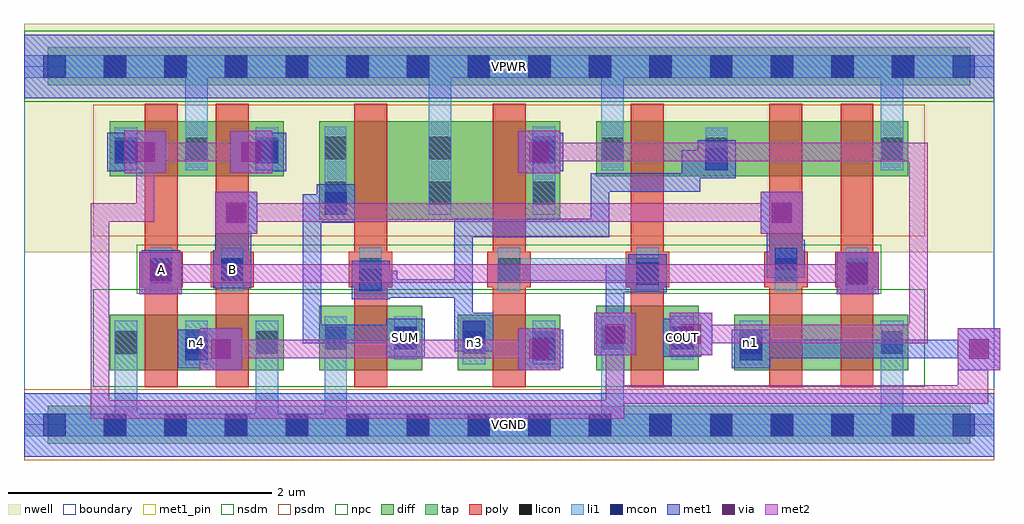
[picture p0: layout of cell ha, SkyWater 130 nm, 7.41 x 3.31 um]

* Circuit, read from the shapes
.subckt ha A B COUT SUM VGND VPWR n1 n3 n4
XM1 n4 A VGND VGND sky130_fd_pr__nfet_01v8 w=0.42 l=0.25
XM2 VGND B n4 VGND sky130_fd_pr__nfet_01v8 w=0.42 l=0.25
XM3 SUM n3 VGND VGND sky130_fd_pr__nfet_01v8 w=0.49 l=0.25
XM4 n4 n1 n3 VGND sky130_fd_pr__nfet_01v8 w=0.42 l=0.25
XM5 COUT n1 VGND VGND sky130_fd_pr__nfet_01v8 w=0.49 l=0.25
XM6 n2 B n1 VGND sky130_fd_pr__nfet_01v8 w=0.42 l=0.25
XM7 VGND A n2 VGND sky130_fd_pr__nfet_01v8 w=0.42 l=0.25
XM8 VPWR A n1 VPWR sky130_fd_pr__pfet_01v8 w=0.42 l=0.25
XM9 n1 B VPWR VPWR sky130_fd_pr__pfet_01v8 w=0.42 l=0.25
XM10 VPWR n3 SUM VPWR sky130_fd_pr__pfet_01v8 w=0.75 l=0.25
XM11 COUT n1 VPWR VPWR sky130_fd_pr__pfet_01v8 w=0.75 l=0.25
XM12 n3 n1 VPWR VPWR sky130_fd_pr__pfet_01v8 w=0.42 l=0.25
XM13 n5 B n3 VPWR sky130_fd_pr__pfet_01v8 w=0.42 l=0.25
XM14 VPWR A n5 VPWR sky130_fd_pr__pfet_01v8 w=0.42 l=0.25
.ends

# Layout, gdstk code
import gdstk
lib = gdstk.Library(unit=1e-6, precision=1e-09)
def R(c, l, rs):  # rectangles x0, y0, x1, y1
    for r in rs: c.add(gdstk.rectangle(r[:2], r[2:], *l))
def A(c, l, x, y, w, h, nx, ny, dx, dy):  # array of equal rectangles
    R(c, l, [(x+i*dx, y+j*dy, x+i*dx+w, y+j*dy+h) for i in range(nx) for j in range(ny)])
nwell = (64, 20)
diff = (65, 20)
tap = (65, 44)
poly = (66, 20)
licon = (66, 44)
li1 = (67, 20)
mcon = (67, 44)
met1_pin = (68, 16)
met1 = (68, 20)
via = (68, 44)
met2 = (69, 20)
nsdm = (93, 44)
psdm = (94, 20)
npc = (95, 20)
boundary = (235, 4)

c_ha = lib.new_cell('ha')
R(c_ha, nwell, [(0,1.31,7.36,3.045)])
R(c_ha, diff, [(0.65,0.415,1.97,0.835), (2.24,0.415,3.02,0.905), (3.29,0.415,4.07,0.835), (4.34,0.415,5.12,0.905), (5.39,0.415,6.71,0.835), (2.24,1.555,4.07,2.305), (0.65,1.885,1.97,2.305), (4.34,1.885,6.71,2.305)])
R(c_ha, tap, [(0.18,-0.145,7.18,0.145), (0.18,2.575,7.18,2.865)])
A(c_ha, poly, 1.455, 0.285, 0.25, 2.15, 5, 1, 1.05, 0)
A(c_ha, poly, 1.415, 1.045, 0.33, 0.27, 5, 1, 1.05, 0)
R(c_ha, poly, [(0.915,0.285,1.165,2.435), (6.195,0.285,6.445,2.435), (0.875,1.045,1.205,1.315), (6.155,1.045,6.485,1.315)])
A(c_ha, licon, 0.605, -0.085, 0.17, 0.17, 14, 2, 0.46, 2.72)
A(c_ha, licon, 0.69, 0.54, 0.17, 0.17, 3, 2, 0.535, 1.47)
A(c_ha, licon, 1.495, 1.095, 0.17, 0.17, 5, 1, 1.05, 0)
A(c_ha, licon, 2.28, 1.675, 0.17, 0.17, 3, 2, 0.79, 0.34)
R(c_ha, licon, [(3.33,0.54,3.5,0.71), (3.86,0.54,4.03,0.71), (5.43,0.54,5.6,0.71), (6.5,0.54,6.67,0.71), (2.28,0.575,2.45,0.745), (2.81,0.575,2.98,0.745), (4.38,0.575,4.55,0.745), (4.91,0.575,5.08,0.745), (0.955,1.095,1.125,1.265), (6.235,1.095,6.405,1.265), (4.38,2.01,4.55,2.18), (5.17,2.01,5.34,2.18), (6.5,2.01,6.67,2.18)])
A(c_ha, li1, 0.69, 0.46, 0.17, 0.33, 3, 2, 0.535, 1.47)
A(c_ha, li1, 1.495, 1.015, 0.17, 0.33, 5, 1, 1.05, 0)
A(c_ha, li1, 2.28, 1.595, 0.17, 0.67, 3, 1, 0.79, 0)
R(c_ha, li1, [(0,-0.085,7.36,0.085), (0.69,-0.085,0.86,0.79), (1.76,-0.085,1.93,0.79), (2.28,-0.085,2.45,0.825), (4.38,-0.085,4.55,0.825), (6.5,-0.085,6.67,0.79), (3.33,0.46,3.5,0.79), (3.86,0.46,4.03,0.79), (5.43,0.46,5.6,0.79), (6.5,0.46,6.67,0.79), (2.28,0.495,2.45,0.825), (2.81,0.495,2.98,0.825), (4.38,0.495,4.55,0.825), (4.91,0.495,5.08,0.825), (0.955,1.015,1.125,1.345), (6.235,1.015,6.405,1.345), (3.595,1.095,4.815,1.265), (3.07,1.595,3.24,2.805), (1.225,1.93,1.395,2.805), (4.38,1.93,4.55,2.26), (4.38,1.93,4.55,2.805), (5.17,1.93,5.34,2.26), (6.5,1.93,6.67,2.26), (6.5,1.93,6.67,2.805), (0,2.635,7.36,2.805)])
A(c_ha, mcon, 0.145, -0.085, 0.17, 0.17, 16, 2, 0.46, 2.72)
R(c_ha, mcon, [(1.225,0.49,1.395,0.66), (3.86,0.49,4.03,0.66), (5.43,0.49,5.6,0.66), (2.81,0.575,2.98,0.745), (4.91,0.575,5.08,0.745), (3.33,0.62,3.5,0.79), (2.545,1.015,2.715,1.185), (4.645,1.065,4.815,1.235), (6.235,1.065,6.405,1.235), (0.955,1.095,1.125,1.265), (1.495,1.095,1.665,1.265), (5.695,1.175,5.865,1.345), (2.28,1.595,2.45,1.765), (5.17,1.93,5.34,2.1), (0.69,1.985,0.86,2.155), (1.76,1.985,1.93,2.155), (3.86,1.985,4.03,2.155)])
R(c_ha, met1_pin, [(0,-0.24,7.36,0.24), (2.75,0.515,3.04,0.805), (4.85,0.515,5.14,0.805), (0.895,1.035,1.185,1.325), (1.435,1.035,1.725,1.325), (0,2.48,7.36,2.96)])
R(c_ha, met1, [(0,-0.24,7.36,0.24), (1.335,0.415,1.655,0.735), (3.75,0.415,4.07,0.735), (7.085,0.415,7.405,0.735), (1.165,0.43,1.455,0.72), (3.8,0.43,4.09,0.72), (5.37,0.43,5.66,0.72), (1.24,0.505,1.565,0.645), (3.84,0.505,4.015,0.645), (5.445,0.505,5.705,0.645), (5.565,0.505,7.315,0.645), (2.75,0.515,3.04,0.805), (4.85,0.515,5.14,0.805), (4.325,0.53,4.645,0.85), (4.9,0.53,5.22,0.85), (3.27,0.56,3.56,0.85), (2.115,0.62,2.945,0.76), (2.115,0.62,2.255,1.565), (2.805,0.62,2.945,0.76), (4.415,0.62,4.555,1.22), (4.99,0.62,5.13,0.76), (3.265,0.635,3.485,0.775), (3.265,0.635,3.405,0.875), (3.265,0.735,3.405,1.105), (2.485,0.955,2.775,1.245), (2.69,0.965,2.83,1.17), (2.69,0.965,3.405,1.105), (3.265,0.965,3.405,1.565), (0.875,0.99,1.195,1.31), (6.165,0.99,6.485,1.31), (4.555,1.005,4.585,1.22), (4.585,1.005,4.875,1.295), (6.175,1.005,6.465,1.295), (2.56,1.03,2.83,1.17), (0.895,1.035,1.185,1.325), (1.435,1.035,1.725,1.325), (0.965,1.08,1.105,1.22), (1.54,1.08,1.68,1.68), (1.54,1.08,1.68,1.22), (4.415,1.08,4.67,1.22), (4.53,1.08,4.8,1.22), (6.25,1.08,6.395,1.22), (5.635,1.115,5.925,1.405), (5.68,1.19,5.85,1.33), (5.68,1.19,5.82,1.45), (5.68,1.31,5.82,1.68), (1.45,1.325,1.725,1.45), (5.68,1.33,5.85,1.45), (5.635,1.405,5.91,1.45), (2.115,1.425,2.255,1.75), (3.265,1.425,4.44,1.565), (4.3,1.425,4.44,1.91), (1.45,1.45,1.77,1.77), (5.59,1.45,5.91,1.77), (2.22,1.535,2.51,1.825), (2.115,1.61,2.435,1.75), (4.3,1.77,5.13,1.91), (4.99,1.77,5.13,2.085), (5.11,1.87,5.4,2.16), (0.76,1.91,1.08,2.23), (1.565,1.91,1.885,2.23), (3.75,1.91,4.07,2.23), (0.63,1.925,0.92,2.215), (1.7,1.925,1.99,2.215), (3.8,1.925,4.09,2.215), (4.99,1.945,5.325,2.085), (0.705,2,0.99,2.14), (1.655,2,1.915,2.14), (3.84,2,4.015,2.14), (0,2.48,7.36,2.96)])
R(c_ha, via, [(1.42,0.5,1.57,0.65), (3.835,0.5,3.985,0.65), (7.17,0.5,7.32,0.65), (4.41,0.615,4.56,0.765), (4.985,0.615,5.135,0.765), (0.96,1.075,1.11,1.225), (6.25,1.075,6.4,1.225), (1.535,1.535,1.685,1.685), (5.675,1.535,5.825,1.685), (0.845,1.995,0.995,2.145), (1.65,1.995,1.8,2.145), (3.835,1.995,3.985,2.145)])
R(c_ha, met2, [(0.505,0.045,0.645,1.68), (0.505,0.045,4.555,0.185), (4.415,0.045,4.555,0.76), (4.415,0.16,7.315,0.3), (7.175,0.16,7.315,0.645), (7.085,0.3,7.315,0.415), (1.335,0.415,1.655,0.735), (3.75,0.415,4.07,0.735), (7.085,0.415,7.405,0.735), (1.425,0.505,3.98,0.645), (4.325,0.53,4.645,0.85), (4.9,0.53,5.22,0.85), (4.99,0.62,6.855,0.76), (6.715,0.62,6.855,2.14), (0.875,0.99,1.195,1.31), (6.165,0.99,6.485,1.31), (0.965,1.08,6.395,1.22), (1.45,1.45,1.77,1.77), (5.59,1.45,5.91,1.77), (0.505,1.54,0.99,1.68), (0.85,1.54,0.99,2.14), (1.54,1.54,5.82,1.68), (0.76,1.91,1.08,2.23), (1.565,1.91,1.885,2.23), (3.75,1.91,4.07,2.23), (0.85,2,1.795,2.14), (3.84,2,6.855,2.14)])
R(c_ha, nsdm, [(0.525,0.29,6.835,1.03), (0,2.45,7.36,2.99)])
R(c_ha, psdm, [(0,-0.27,7.36,0.27), (0.525,1.43,6.835,2.43)])
R(c_ha, npc, [(0.855,0.995,6.505,1.365)])
R(c_ha, boundary, [(0,0,7.36,2.72)])
c_ha.add(gdstk.Label('n4', (1.31,0.625), layer=67, texttype=5))
c_ha.add(gdstk.Label('n3', (3.415,0.625), layer=67, texttype=5))
c_ha.add(gdstk.Label('n1', (5.515,0.625), layer=67, texttype=5))
c_ha.add(gdstk.Label('A', (1.04,1.18), layer=68, texttype=5))
c_ha.add(gdstk.Label('B', (1.58,1.18), layer=68, texttype=5))
c_ha.add(gdstk.Label('SUM', (2.895,0.66), layer=68, texttype=5))
c_ha.add(gdstk.Label('COUT', (4.995,0.66), layer=68, texttype=5))
c_ha.add(gdstk.Label('VPWR', (3.68,2.72), layer=68, texttype=5))
c_ha.add(gdstk.Label('VGND', (3.68,0), layer=68, texttype=5))
c_ha.add(gdstk.Label('A', (1.04,1.18), layer=68, texttype=16))
c_ha.add(gdstk.Label('B', (1.58,1.18), layer=68, texttype=16))
c_ha.add(gdstk.Label('SUM', (2.895,0.66), layer=68, texttype=16))
c_ha.add(gdstk.Label('COUT', (4.995,0.66), layer=68, texttype=16))
c_ha.add(gdstk.Label('VPWR', (3.68,2.72), layer=68, texttype=16))
c_ha.add(gdstk.Label('VGND', (3.68,0), layer=68, texttype=16))

lib.write_gds('ha.gds')
